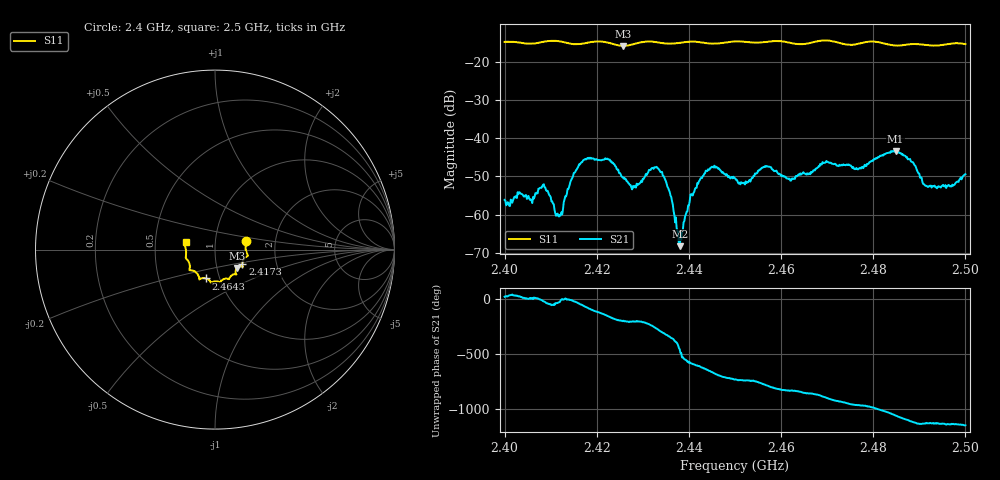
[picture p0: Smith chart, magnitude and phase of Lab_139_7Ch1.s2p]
# Hz S RI R 50
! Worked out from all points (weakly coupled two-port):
!   601 points, 2.4 GHz to 2.5 GHz, reference 50 ohm
!   highest |S21| = -43.39 dB at 2.4848 GHz (marker M1); lowest = -68.3 dB at 2.438 GHz (marker M2)
!   lowest |S11| = -15.9 dB at 2.4257 GHz (marker M3), VSWR 1.38, Z = 62.5 - j13.1 ohm
!   |S11| at or under -10 dB: start of sweep to end of sweep
!   S12 and S22 are empty: the file has one direction only
!   S11 on the Smith chart (normalised r, x): 2.4 GHz: 1.41, +0.14; 2.4173 GHz: 1.34, -0.23; 2.4643 GHz: 0.86, -0.29; 2.5 GHz: 0.72, +0.06
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2.4e9  0.1735 0.0495  0.00143 0.000606  0 0  0 0
2.406e9  0.171 0.00131  0.00139 0.000247  0 0  0 0
2.408333e9  0.1794 -0.0237  0.00234 -0.000699  0 0  0 0
2.412e9  0.1799 -0.0367  0.000904 -0.000408  0 0  0 0
2.416667e9  0.1532 -0.0743  0.00317 -0.00362  0 0  0 0
2.417333e9  0.1524 -0.0817  0.00225 -0.00472  0 0  0 0
2.422333e9  0.1503 -0.0943  -0.00474 -0.00252  0 0  0 0
2.425667e9  0.1229 -0.1023  -0.00289 0.00103  0 0  0 0
2.428e9  0.1148 -0.1233  -0.00207 0.000884  0 0  0 0
2.433333e9  0.1129 -0.1369  0.000503 0.00397  0 0  0 0
2.435667e9  0.097 -0.141  0.00193 0.000787  0 0  0 0
2.438e9  0.083 -0.1545  -4.34e-05 -0.000383  0 0  0 0
2.440333e9  0.079 -0.1639  -0.00136 0.0012  0 0  0 0
2.443833e9  0.0647 -0.161  0.000777 0.00363  0 0  0 0
2.45e9  0.0292 -0.181  0.00293 -0.000565  0 0  0 0
2.456667e9  -0.0113 -0.1795  0.00194 -0.00373  0 0  0 0
2.464333e9  -0.0497 -0.1608  -0.00186 -0.00275  0 0  0 0
2.466667e9  -0.0758 -0.1598  -0.00268 -0.00231  0 0  0 0
2.483333e9  -0.1404 -0.0899  0.00434 0.00472  0 0  0 0
2.484833e9  -0.1438 -0.074  0.00637 0.0023  0 0  0 0
2.4915e9  -0.1615 -0.0302  0.00163 -0.00173  0 0  0 0
2.5e9  -0.1634 0.0422  0.00121 -0.00314  0 0  0 0
